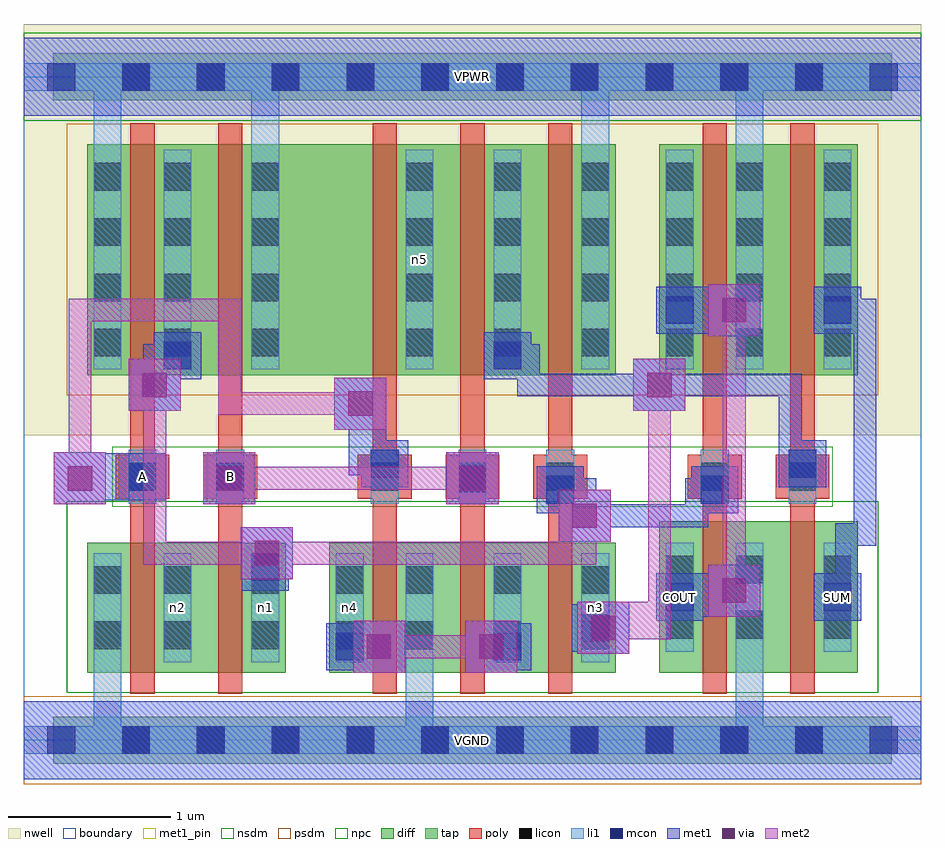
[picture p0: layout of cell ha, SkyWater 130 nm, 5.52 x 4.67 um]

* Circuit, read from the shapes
.subckt ha A B COUT SUM VGND VPWR n1 n2 n3 n4 n5
XM1 n2 A VGND VGND sky130_fd_pr__nfet_01v8 w=0.8 l=0.15
XM2 n1 B n2 VGND sky130_fd_pr__nfet_01v8 w=0.8 l=0.15
XM3 VGND A n4 VGND sky130_fd_pr__nfet_01v8 w=0.8 l=0.15
XM4 n4 B VGND VGND sky130_fd_pr__nfet_01v8 w=0.8 l=0.15
XM5 n3 n1 n4 VGND sky130_fd_pr__nfet_01v8 w=0.8 l=0.15
XM6 VGND n1 COUT VGND sky130_fd_pr__nfet_01v8 w=0.93 l=0.15
XM7 SUM n3 VGND VGND sky130_fd_pr__nfet_01v8 w=0.93 l=0.15
XM8 n1 A VPWR VPWR sky130_fd_pr__pfet_01v8 w=1.42 l=0.15
XM9 VPWR B n1 VPWR sky130_fd_pr__pfet_01v8 w=1.42 l=0.15
XM10 n5 A VPWR VPWR sky130_fd_pr__pfet_01v8 w=1.42 l=0.15
XM11 n3 B n5 VPWR sky130_fd_pr__pfet_01v8 w=1.42 l=0.15
XM12 VPWR n1 n3 VPWR sky130_fd_pr__pfet_01v8 w=1.42 l=0.15
XM13 VPWR n1 COUT VPWR sky130_fd_pr__pfet_01v8 w=1.42 l=0.15
XM14 SUM n3 VPWR VPWR sky130_fd_pr__pfet_01v8 w=1.42 l=0.15
.ends

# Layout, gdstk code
import gdstk
lib = gdstk.Library(unit=1e-6, precision=1e-09)
def R(c, l, rs):  # rectangles x0, y0, x1, y1
    for r in rs: c.add(gdstk.rectangle(r[:2], r[2:], *l))
def A(c, l, x, y, w, h, nx, ny, dx, dy):  # array of equal rectangles
    R(c, l, [(x+i*dx, y+j*dy, x+i*dx+w, y+j*dy+h) for i in range(nx) for j in range(ny)])
nwell = (64, 20)
diff = (65, 20)
tap = (65, 44)
poly = (66, 20)
licon = (66, 44)
li1 = (67, 20)
mcon = (67, 44)
met1_pin = (68, 16)
met1 = (68, 20)
via = (68, 44)
met2 = (69, 20)
nsdm = (93, 44)
psdm = (94, 20)
npc = (95, 20)
boundary = (235, 4)

c_ha = lib.new_cell('ha')
R(c_ha, nwell, [(0,1.875,5.52,4.405)])
R(c_ha, diff, [(0.39,0.415,1.61,1.215), (1.88,0.415,3.64,1.215), (3.91,0.415,5.13,1.345), (0.39,2.245,3.64,3.665), (3.91,2.245,5.13,3.665)])
R(c_ha, tap, [(0.18,-0.145,5.34,0.145), (0.18,3.935,5.34,4.225)])
A(c_ha, poly, 2.145, 0.285, 0.15, 3.51, 3, 1, 0.54, 0)
A(c_ha, poly, 2.055, 1.485, 0.33, 0.27, 3, 1, 0.54, 0)
R(c_ha, poly, [(0.655,0.285,0.805,3.795), (1.195,0.285,1.345,3.795), (4.175,0.285,4.325,3.795), (4.715,0.285,4.865,3.795), (0.565,1.485,0.895,1.755), (1.105,1.485,1.435,1.755), (4.085,1.485,4.415,1.755), (4.625,1.485,4.955,1.755)])
A(c_ha, licon, 0.605, -0.085, 0.17, 0.17, 10, 2, 0.46, 4.08)
A(c_ha, licon, 2.35, 0.56, 0.17, 0.17, 3, 2, 0.54, 0.34)
A(c_ha, licon, 2.135, 1.535, 0.17, 0.17, 3, 1, 0.54, 0)
A(c_ha, licon, 0.43, 2.36, 0.17, 0.17, 1, 4, 0, 0.34)
A(c_ha, licon, 0.86, 2.36, 0.17, 0.17, 1, 4, 0, 0.34)
A(c_ha, licon, 1.4, 2.36, 0.17, 0.17, 1, 4, 0, 0.34)
A(c_ha, licon, 2.35, 2.36, 0.17, 0.17, 3, 4, 0.54, 0.34)
A(c_ha, licon, 3.95, 2.36, 0.17, 0.17, 1, 4, 0, 0.34)
A(c_ha, licon, 4.38, 2.36, 0.17, 0.17, 1, 4, 0, 0.34)
A(c_ha, licon, 4.92, 2.36, 0.17, 0.17, 1, 4, 0, 0.34)
R(c_ha, licon, [(0.43,0.56,0.6,0.73), (0.86,0.56,1.03,0.73), (1.4,0.56,1.57,0.73), (1.92,0.56,2.09,0.73), (3.95,0.625,4.12,0.795), (4.38,0.625,4.55,0.795), (4.92,0.625,5.09,0.795), (0.43,0.9,0.6,1.07), (0.86,0.9,1.03,1.07), (1.4,0.9,1.57,1.07), (1.92,0.9,2.09,1.07), (3.95,0.965,4.12,1.135), (4.38,0.965,4.55,1.135), (4.92,0.965,5.09,1.135), (0.645,1.535,0.815,1.705), (1.185,1.535,1.355,1.705), (4.165,1.535,4.335,1.705), (4.705,1.535,4.875,1.705)])
A(c_ha, li1, 2.35, 0.48, 0.17, 0.67, 3, 1, 0.54, 0)
A(c_ha, li1, 2.135, 1.455, 0.17, 0.33, 3, 1, 0.54, 0)
A(c_ha, li1, 2.35, 2.28, 0.17, 1.35, 3, 1, 0.54, 0)
R(c_ha, li1, [(0,-0.085,5.52,0.085), (0.43,-0.085,0.6,1.15), (2.35,-0.085,2.52,1.15), (4.38,-0.085,4.55,1.215), (0.43,0.48,0.6,1.15), (0.86,0.48,1.03,1.15), (1.4,0.48,1.57,1.15), (1.92,0.48,2.09,1.15), (3.95,0.545,4.12,1.215), (4.38,0.545,4.55,1.215), (4.92,0.545,5.09,1.215), (0.645,1.455,0.815,1.785), (1.185,1.455,1.355,1.785), (4.165,1.455,4.335,1.785), (4.705,1.455,4.875,1.785), (0.43,2.28,0.6,3.63), (0.43,2.28,0.6,4.165), (0.86,2.28,1.03,3.63), (1.4,2.28,1.57,3.63), (1.4,2.28,1.57,4.165), (3.43,2.28,3.6,4.165), (3.95,2.28,4.12,3.63), (4.38,2.28,4.55,3.63), (4.38,2.28,4.55,4.165), (4.92,2.28,5.09,3.63), (0,3.995,5.52,4.165)])
A(c_ha, mcon, 0.145, -0.085, 0.17, 0.17, 12, 2, 0.46, 4.08)
R(c_ha, mcon, [(1.92,0.49,2.09,0.66), (2.89,0.49,3.06,0.66), (3.43,0.605,3.6,0.775), (3.95,0.795,4.12,0.965), (4.92,0.795,5.09,0.965), (1.4,0.98,1.57,1.15), (3.215,1.455,3.385,1.625), (4.165,1.455,4.335,1.625), (2.675,1.525,2.845,1.695), (0.645,1.535,0.815,1.705), (1.185,1.535,1.355,1.705), (2.135,1.615,2.305,1.785), (4.705,1.615,4.875,1.785), (0.86,2.28,1.03,2.45), (2.89,2.28,3.06,2.45), (3.95,2.56,4.12,2.73), (4.92,2.56,5.09,2.73)])
R(c_ha, met1_pin, [(0,-0.24,5.52,0.24), (3.89,0.735,4.18,1.025), (4.86,0.735,5.15,1.025), (0.585,1.475,0.875,1.765), (1.125,1.475,1.415,1.765), (0,3.84,5.52,4.32)])
R(c_ha, met1, [(0,-0.24,5.52,0.24), (2.025,0.415,2.345,0.735), (2.715,0.415,3.035,0.735), (1.86,0.43,2.15,0.72), (2.83,0.43,3.12,0.72), (1.935,0.505,2.255,0.645), (2.805,0.505,3.045,0.645), (3.405,0.53,3.725,0.85), (3.37,0.545,3.66,0.835), (3.445,0.62,3.635,0.76), (3.89,0.735,4.18,1.025), (4.86,0.735,5.15,1.025), (4.18,0.76,4.21,1.025), (4.21,0.76,4.53,1.08), (3.955,0.85,4.095,0.99), (3.955,0.85,4.44,0.99), (4.99,0.85,5.13,0.99), (4.99,0.85,5.13,1.335), (1.34,0.92,1.63,1.21), (1.335,0.99,1.655,1.31), (1.415,0.995,1.565,1.135), (1.425,0.995,1.565,1.22), (4.99,1.195,5.245,1.335), (5.105,1.195,5.245,2.715), (3.29,1.22,3.61,1.54), (3.38,1.31,3.52,1.61), (3.38,1.31,4.21,1.45), (4.07,1.31,4.21,1.61), (3.155,1.395,3.445,1.685), (4.105,1.395,4.395,1.685), (0.185,1.45,0.505,1.77), (1.105,1.45,1.425,1.77), (2.6,1.45,2.92,1.77), (2.615,1.465,2.905,1.755), (3.23,1.47,3.52,1.61), (4.07,1.47,4.32,1.61), (0.505,1.475,0.585,1.765), (0.585,1.475,0.875,1.765), (1.125,1.475,1.415,1.765), (0.275,1.54,0.76,1.68), (0.62,1.54,0.76,1.68), (1.195,1.54,1.335,1.68), (2.075,1.555,2.365,1.845), (4.645,1.555,4.935,1.845), (2,1.63,2.29,1.77), (2,1.63,2.14,1.91), (4.645,1.63,4.86,1.77), (4.645,1.63,4.785,1.91), (2,1.77,2.14,2.14), (4.645,1.77,4.785,2.255), (2.075,1.845,2.23,1.91), (1.91,1.91,2.23,2.23), (0.645,2.025,0.965,2.345), (3.75,2.025,4.07,2.345), (0.735,2.115,0.875,2.435), (3.035,2.115,3.175,2.435), (3.035,2.115,4.785,2.255), (0.8,2.22,1.09,2.51), (2.83,2.22,3.12,2.51), (0.735,2.295,1.015,2.435), (2.905,2.295,3.175,2.435), (4.21,2.485,4.53,2.805), (3.89,2.5,4.18,2.79), (4.18,2.5,4.21,2.79), (4.86,2.5,5.15,2.79), (3.965,2.575,4.21,2.715), (4.07,2.575,4.44,2.715), (4.935,2.575,5.245,2.715), (0,3.84,5.52,4.32)])
R(c_ha, via, [(2.11,0.5,2.26,0.65), (2.8,0.5,2.95,0.65), (3.49,0.615,3.64,0.765), (4.295,0.845,4.445,0.995), (1.42,1.075,1.57,1.225), (3.375,1.305,3.525,1.455), (0.27,1.535,0.42,1.685), (1.19,1.535,1.34,1.685), (2.685,1.535,2.835,1.685), (1.995,1.995,2.145,2.145), (0.73,2.11,0.88,2.26), (3.835,2.11,3.985,2.26), (4.295,2.57,4.445,2.72)])
R(c_ha, met2, [(2.025,0.415,2.345,0.735), (2.715,0.415,3.035,0.735), (2.115,0.505,2.945,0.645), (3.405,0.53,3.725,0.85), (3.495,0.62,3.98,0.76), (3.725,0.62,3.84,0.85), (3.84,0.62,3.98,2.255), (4.21,0.76,4.53,1.08), (4.3,0.85,4.44,2.715), (1.335,0.99,1.655,1.31), (0.735,1.08,1.565,1.22), (0.735,1.08,0.875,2.255), (1.425,1.08,3.52,1.22), (3.38,1.08,3.52,1.45), (3.29,1.22,3.61,1.54), (0.185,1.45,0.505,1.77), (1.105,1.45,1.425,1.77), (2.6,1.45,2.92,1.77), (0.275,1.54,0.415,2.715), (1.195,1.54,2.83,1.68), (1.91,1.91,2.23,2.23), (1.195,2,1.335,2.715), (1.195,2,2.14,2.14), (0.645,2.025,0.965,2.345), (3.75,2.025,4.07,2.345), (4.21,2.485,4.53,2.805), (0.275,2.575,1.335,2.715)])
R(c_ha, nsdm, [(0.265,0.29,5.255,1.47), (0,3.81,5.52,4.35)])
R(c_ha, psdm, [(0,-0.27,5.52,0.27), (0.265,2.12,5.255,3.79)])
R(c_ha, npc, [(0.545,1.435,4.975,1.805)])
R(c_ha, boundary, [(0,0,5.52,4.08)])
c_ha.add(gdstk.Label('n2', (0.945,0.815), layer=67, texttype=5))
c_ha.add(gdstk.Label('n1', (1.485,0.815), layer=67, texttype=5))
c_ha.add(gdstk.Label('n4', (2.005,0.815), layer=67, texttype=5))
c_ha.add(gdstk.Label('n3', (3.515,0.815), layer=67, texttype=5))
c_ha.add(gdstk.Label('n5', (2.435,2.955), layer=67, texttype=5))
c_ha.add(gdstk.Label('A', (0.73,1.62), layer=68, texttype=5))
c_ha.add(gdstk.Label('B', (1.27,1.62), layer=68, texttype=5))
c_ha.add(gdstk.Label('COUT', (4.035,0.88), layer=68, texttype=5))
c_ha.add(gdstk.Label('SUM', (5.005,0.88), layer=68, texttype=5))
c_ha.add(gdstk.Label('VPWR', (2.76,4.08), layer=68, texttype=5))
c_ha.add(gdstk.Label('VGND', (2.76,0), layer=68, texttype=5))
c_ha.add(gdstk.Label('A', (0.73,1.62), layer=68, texttype=16))
c_ha.add(gdstk.Label('B', (1.27,1.62), layer=68, texttype=16))
c_ha.add(gdstk.Label('COUT', (4.035,0.88), layer=68, texttype=16))
c_ha.add(gdstk.Label('SUM', (5.005,0.88), layer=68, texttype=16))
c_ha.add(gdstk.Label('VPWR', (2.76,4.08), layer=68, texttype=16))
c_ha.add(gdstk.Label('VGND', (2.76,0), layer=68, texttype=16))

lib.write_gds('ha.gds')
